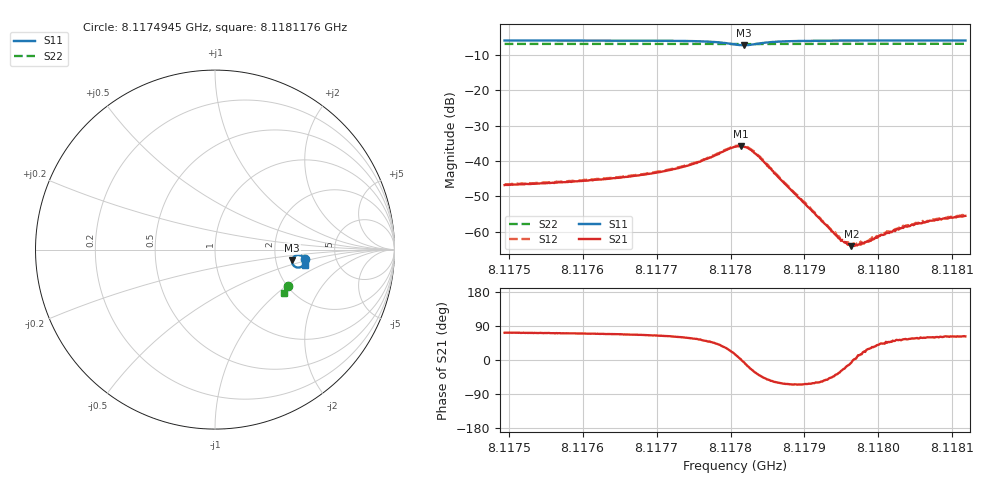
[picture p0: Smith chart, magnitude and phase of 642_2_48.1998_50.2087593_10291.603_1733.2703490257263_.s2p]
#  HZ  S  RI  R  50.00
! Rohde & Schwarz Vector Network Analyzer
! Rohde-Schwarz,ZNB20-2Port,1311601062101988,3.16
! Created: UTC 3/20/2024, 12:04:51 PM
! freq[Hz]  re:S11  im:S11  re:S21  im:S21  re:S12  im:S12  re:S22  im:S22
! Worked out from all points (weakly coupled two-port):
!   401 points, 8.1174945 GHz to 8.1181176 GHz, reference 50 ohm
!   highest |S21| = -35.75 dB at 8.1178138 GHz (marker M1); lowest = -64.1 dB at 8.1179634 GHz (marker M2)
!   lowest |S11| = -7.3 dB at 8.1178185 GHz (marker M3), VSWR 2.53, Z = 123 - j18 ohm
!   |S11| at or under -10 dB: nowhere
!   |S22| runs from -6.9 to -6.9 dB; largest |S21 - S12| = 0.00055
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8.11749451e9  0.5039 -0.0541  0.00142 0.00434  0.00145 0.00444  0.4056 -0.2009
8.11759887e9  0.5017 -0.0649  0.00179 0.00491  0.00186 0.00499  0.4025 -0.2077
8.11765651e9  0.4997 -0.0722  0.00226 0.00548  0.00231 0.00559  0.4007 -0.2114
8.11770324e9  0.4964 -0.0799  0.00301 0.00625  0.00311 0.00644  0.399 -0.2145
8.11775153e9  0.4869 -0.0916  0.00511 0.00767  0.00534 0.00783  0.3972 -0.2178
8.11778891e9  0.4605 -0.1  0.0108 0.00794  0.0111 0.00819  0.3948 -0.22
8.11780604e9  0.4362 -0.0867  0.0154 0.00411  0.0158 0.00423  0.3934 -0.2203
8.11781383e9  0.4293 -0.0707  0.0163 0.000556  0.0167 0.000502  0.3929 -0.2199
8.11781851e9  0.4293 -0.0593  0.0158 -0.00182  0.0162 -0.00212  0.393 -0.2196
8.11782474e9  0.4349 -0.0454  0.0142 -0.00478  0.0145 -0.0049  0.3932 -0.2194
8.1178372e9  0.4559 -0.031  0.00925 -0.00728  0.00951 -0.00752  0.3938 -0.2197
8.11786524e9  0.4869 -0.0386  0.00291 -0.00505  0.00299 -0.00524  0.3942 -0.2222
8.11791041e9  0.4983 -0.0562  0.000938 -0.00171  0.000965 -0.00177  0.3932 -0.2257
8.11794779e9  0.5 -0.0648  0.000676 -0.000431  0.000688 -0.000448  0.392 -0.2284
8.11795247e9  0.5 -0.0657  0.000674 -0.000299  0.000665 -0.000361  0.3919 -0.2288
8.11796337e9  0.5003 -0.0676  0.000621 -7.41e-05  0.000663 -5.76e-05  0.3914 -0.2295
8.1179696e9  0.5004 -0.0686  0.000653 4.04e-05  0.000668 2.73e-05  0.3913 -0.2298
8.11798362e9  0.5004 -0.0707  0.00064 0.00032  0.000668 0.000309  0.3909 -0.2308
8.11801477e9  0.5003 -0.075  0.000656 0.000703  0.000689 0.000729  0.3898 -0.2327
8.11805216e9  0.4999 -0.0795  0.000687 0.00111  0.000708 0.00111  0.3886 -0.2352
8.11808643e9  0.4996 -0.0832  0.000751 0.00133  0.000742 0.00133  0.3874 -0.2372
8.11811758e9  0.4991 -0.0864  0.00078 0.00149  0.000798 0.00157  0.3862 -0.2393
